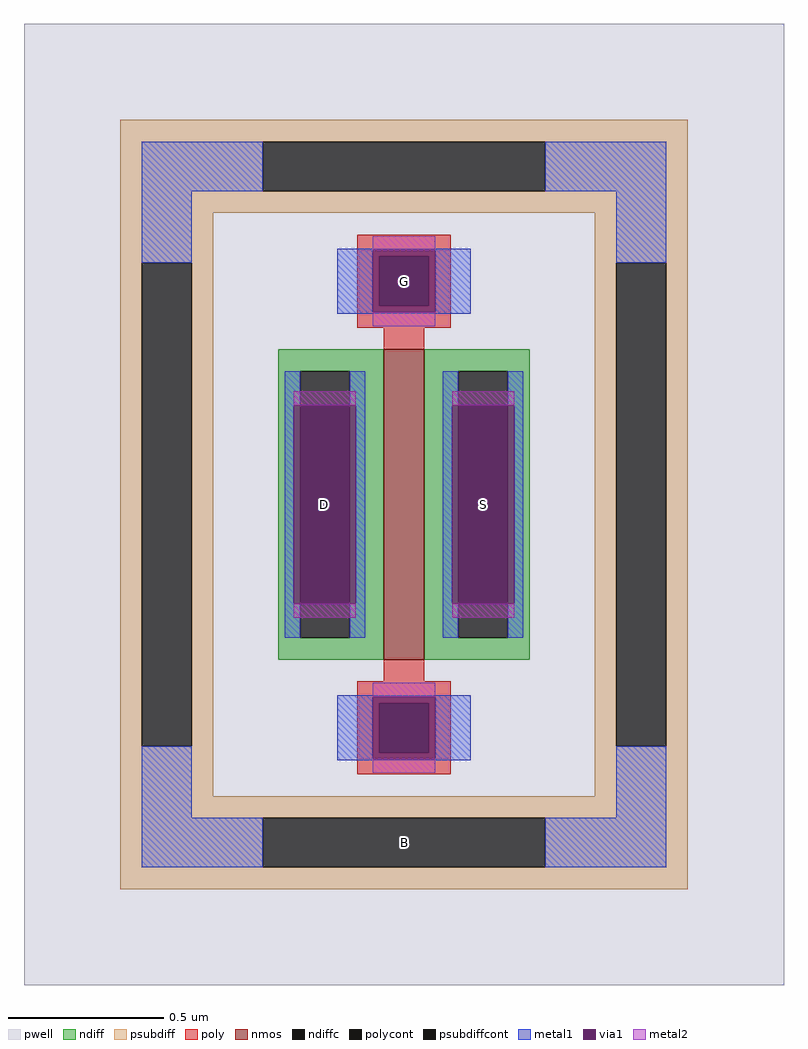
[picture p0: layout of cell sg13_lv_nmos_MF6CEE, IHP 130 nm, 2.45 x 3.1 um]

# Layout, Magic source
magic
tech ihp-sg13g2
magscale 1 2
<< pwell >>
rect -245 -310 245 310
<< nmos >>
rect -13 -100 13 100
<< ndiff >>
rect -81 86 -13 100
rect -81 -86 -67 86
rect -35 -86 -13 86
rect -81 -100 -13 -86
rect 13 86 81 100
rect 13 -86 35 86
rect 67 -86 81 86
rect 13 -100 81 -86
<< ndiffc >>
rect -67 -86 -35 86
rect 35 -86 67 86
<< psubdiff >>
rect -183 234 183 248
rect -183 202 -91 234
rect 91 202 183 234
rect -183 188 183 202
rect -183 156 -123 188
rect -183 -156 -169 156
rect -137 -156 -123 156
rect 123 156 183 188
rect -183 -188 -123 -156
rect 123 -156 137 156
rect 169 -156 183 156
rect 123 -188 183 -156
rect -183 -202 183 -188
rect -183 -234 -91 -202
rect 91 -234 183 -202
rect -183 -248 183 -234
<< psubdiffcont >>
rect -91 202 91 234
rect -169 -156 -137 156
rect 137 -156 169 156
rect -91 -234 91 -202
<< poly >>
rect -30 160 30 174
rect -30 128 -16 160
rect 16 128 30 160
rect -30 114 30 128
rect -13 100 13 114
rect -13 -114 13 -100
rect -30 -128 30 -114
rect -30 -160 -16 -128
rect 16 -160 30 -128
rect -30 -174 30 -160
<< polycont >>
rect -16 128 16 160
rect -16 -160 16 -128
<< metal1 >>
rect -169 202 -91 234
rect 91 202 169 234
rect -169 156 -137 202
rect -43 164 43 165
rect -43 124 -20 164
rect 20 124 43 164
rect -43 123 43 124
rect 137 156 169 202
rect -77 64 -67 86
rect -35 64 -25 86
rect -77 -64 -71 64
rect -31 -64 -25 64
rect -77 -86 -67 -64
rect -35 -86 -25 -64
rect 25 64 35 86
rect 67 64 77 86
rect 25 -64 31 64
rect 71 -64 77 64
rect 25 -86 35 -64
rect 67 -86 77 -64
rect -169 -202 -137 -156
rect -43 -124 43 -123
rect -43 -164 -20 -124
rect 20 -164 43 -124
rect -43 -165 43 -164
rect 137 -202 169 -156
rect -169 -234 -91 -202
rect 91 -234 169 -202
<< via1 >>
rect -20 160 20 164
rect -20 128 -16 160
rect -16 128 16 160
rect 16 128 20 160
rect -20 124 20 128
rect -71 -64 -67 64
rect -67 -64 -35 64
rect -35 -64 -31 64
rect 31 -64 35 64
rect 35 -64 67 64
rect 67 -64 71 64
rect -20 -128 20 -124
rect -20 -160 -16 -128
rect -16 -160 16 -128
rect 16 -160 20 -128
rect -20 -164 20 -160
<< metal2 >>
rect -20 164 20 173
rect -20 115 20 124
rect -71 64 -31 73
rect -71 -73 -31 -64
rect 31 64 71 73
rect 31 -73 71 -64
rect -20 -124 20 -115
rect -20 -173 20 -164
<< labels >>
rlabel psubdiffcont 0 -218 0 -218 0 B
port 1 nsew
rlabel ndiffc -51 0 -51 0 0 D
port 2 nsew
rlabel ndiffc 51 0 51 0 0 S
port 3 nsew
rlabel polycont 0 144 0 144 0 G
port 4 nsew
<< properties >>
string FIXED_BBOX -153 -218 153 218
string gencell sg13_lv_nmos
string library sg13g2
string parameters w 1 l 0.13 m 1 nf 1 diffcov 100 polycov 100 guard 1 glc 1 grc 1 gtc 1 gbc 1 tbcov 100 rlcov 100 topc 1 botc 1 poverlap 0 doverlap 1 lmin 0.13 wmin 0.15 class mosfet compatible {sg13_lv_nmos sg13_hv_nmos} full_metal 1 conn_gates 0 gate_ring 0 doports 1 viasrc 100 viadrn 100 viagate 100 ccols 1 viagb 0 viagr 0 viagl 0 viagt 0
<< end >>
